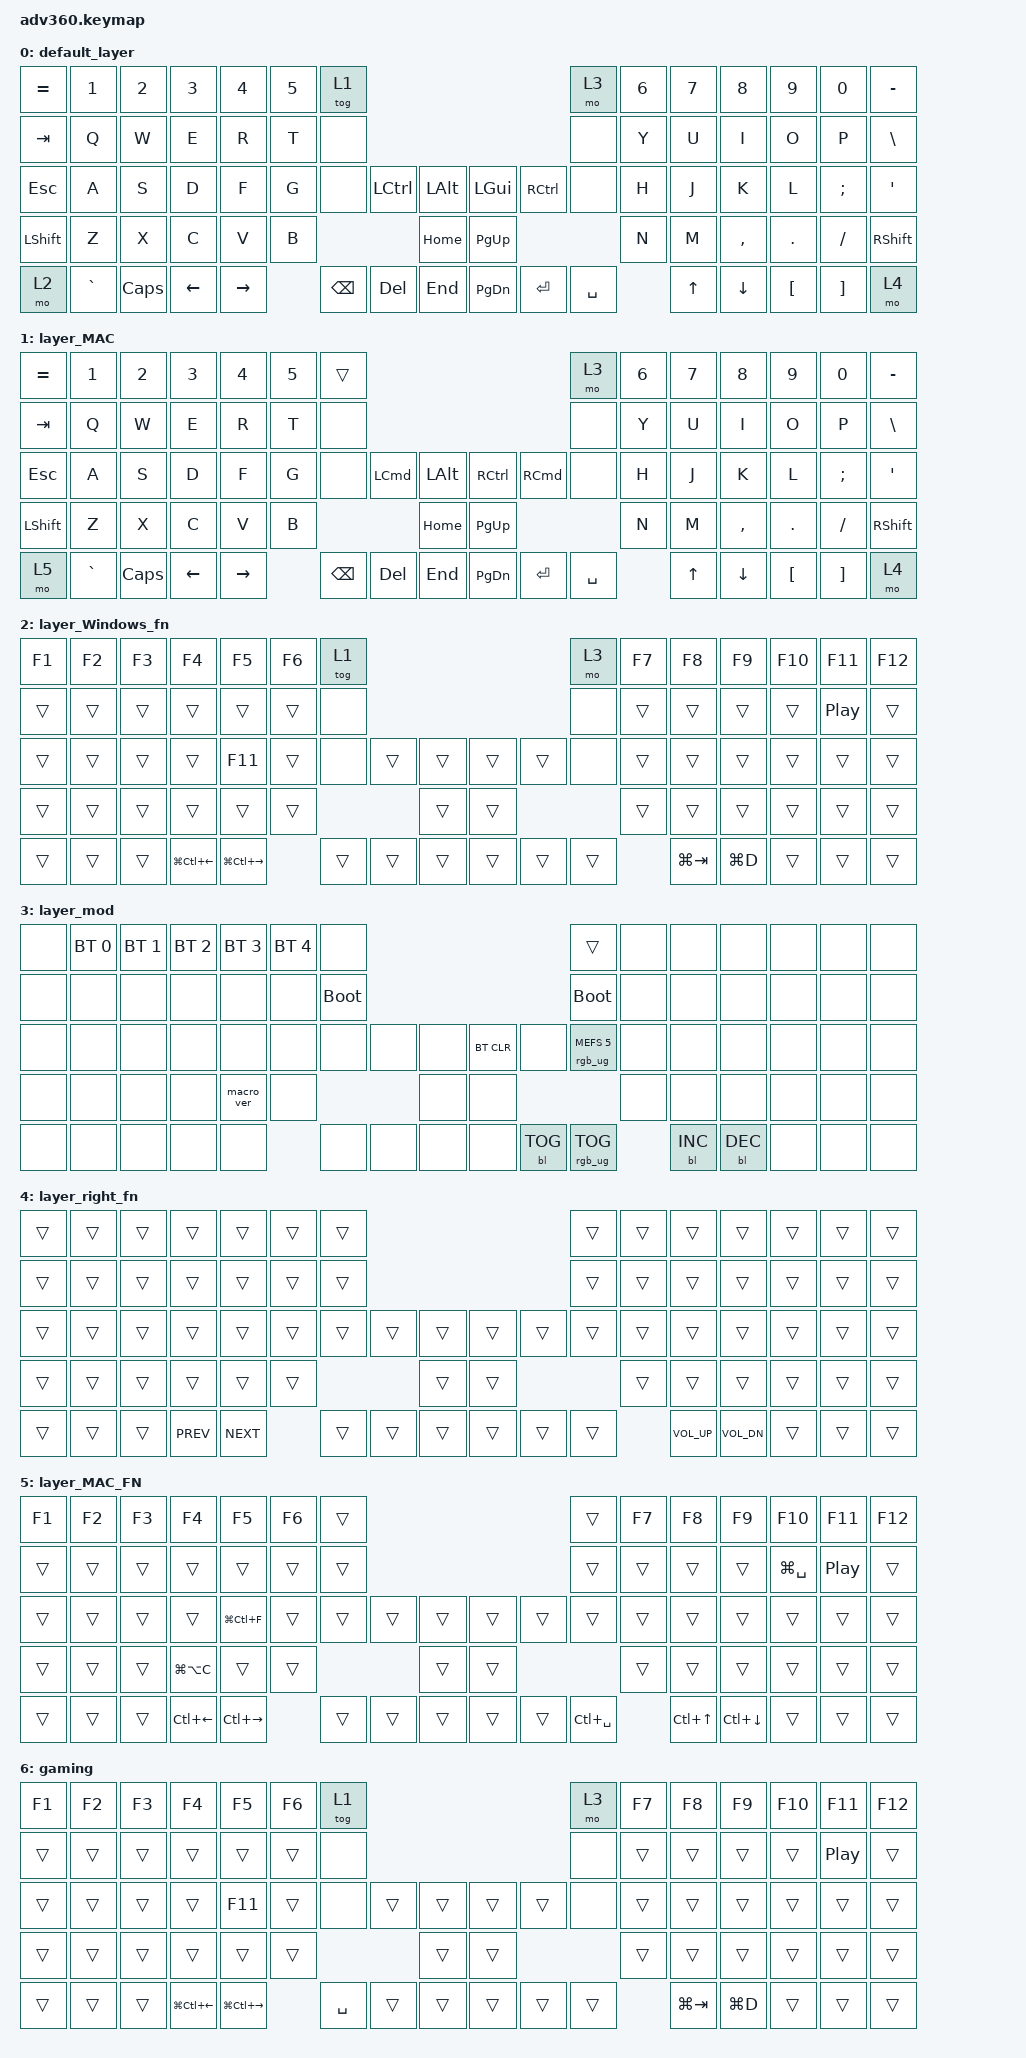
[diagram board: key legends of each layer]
/*
 * Copyright (c) 2020 The ZMK Contributors
 *
 * SPDX-License-Identifier: MIT
 */
/* THIS FILE WAS GENERATED!
 *
 * This file was generated automatically. You may or may not want to
 * edit it directly.
 */

#include <behaviors.dtsi>
#include <dt-bindings/zmk/backlight.h>
#include <dt-bindings/zmk/bt.h>
#include <dt-bindings/zmk/keys.h>
#include <dt-bindings/zmk/rgb.h>

/ {
    behaviors {
        #include "macros.dtsi"
    #include "version.dtsi"

        hm: homerow_mods {
            compatible = "zmk,behavior-hold-tap";
            label = "HOMEROW_MODS";
            #binding-cells = <2>;
            tapping-term-ms = <200>;
            quick_tap_ms = <175>;
            flavor = "tap-preferred";
            bindings = <&kp>, <&kp>;
        };
    };

    keymap {
        compatible = "zmk,keymap";

        default_layer {
            bindings = <
&kp EQUAL  &kp N1     &kp N2    &kp N3    &kp N4     &kp N5  &tog 1                                                   &mo 3      &kp N6  &kp N7  &kp N8     &kp N9    &kp N0    &kp MINUS
&kp TAB    &kp Q      &kp W     &kp E     &kp R      &kp T   &none                                                    &none      &kp Y   &kp U   &kp I      &kp O     &kp P     &kp BSLH
&kp ESC    &kp A      &kp S     &kp D     &kp F      &kp G   &none     &kp LCTRL  &kp LALT      &kp LGUI   &kp RCTRL  &none      &kp H   &kp J   &kp K      &kp L     &kp SEMI  &kp SQT
&kp LSHFT  &kp Z      &kp X     &kp C     &kp V      &kp B                        &kp HOME      &kp PG_UP                        &kp N   &kp M   &kp COMMA  &kp DOT   &kp FSLH  &kp RSHFT
&mo 2      &kp GRAVE  &kp CAPS  &kp LEFT  &kp RIGHT          &kp BSPC  &kp DEL    &kp END       &kp PG_DN  &kp ENTER  &kp SPACE          &kp UP  &kp DOWN   &kp LBKT  &kp RBKT  &mo 4
            >;
        };

        layer_MAC {
            bindings = <
&kp EQUAL  &kp N1     &kp N2    &kp N3    &kp N4     &kp N5  &trans                                                                  &mo 3      &kp N6  &kp N7  &kp N8     &kp N9            &kp N0         &kp MINUS
&kp TAB    &kp Q      &kp W     &kp E     &kp R      &kp T   &none                                                                   &none      &kp Y   &kp U   &kp I      &kp O             &kp P          &kp BSLH
&kp ESC    &kp A      &kp S     &kp D     &kp F      &kp G   &none     &kp LEFT_COMMAND  &kp LALT      &kp RCTRL  &kp RIGHT_COMMAND  &none      &kp H   &kp J   &kp K      &kp L             &kp SEMICOLON  &kp SQT
&kp LSHFT  &kp Z      &kp X     &kp C     &kp V      &kp B                               &kp HOME      &kp PG_UP                                &kp N   &kp M   &kp COMMA  &kp DOT           &kp SLASH      &kp RSHFT
&mo 5      &kp GRAVE  &kp CAPS  &kp LEFT  &kp RIGHT          &kp BSPC  &kp DEL           &kp END       &kp PG_DN  &kp ENTER          &kp SPACE          &kp UP  &kp DOWN   &kp LEFT_BRACKET  &kp RBKT       &mo 4
            >;
        };

        layer_Windows_fn {
            bindings = <
&kp F1  &kp F2  &kp F3  &kp F4            &kp F5             &kp F6  &tog 1                                      &mo 3   &kp F7  &kp F8       &kp F9     &kp F10  &kp F11   &kp F12
&trans  &trans  &trans  &trans            &trans             &trans  &none                                       &none   &trans  &trans       &trans     &trans   &kp C_PP  &trans
&trans  &trans  &trans  &trans            &kp F11            &trans  &none   &trans  &trans      &trans  &trans  &none   &trans  &trans       &trans     &trans   &trans    &trans
&trans  &trans  &trans  &trans            &trans             &trans                  &trans      &trans                  &trans  &trans       &trans     &trans   &trans    &trans
&trans  &trans  &trans  &kp LG(LC(LEFT))  &kp LG(LC(RIGHT))          &trans  &trans  &trans      &trans  &trans  &trans          &kp LG(TAB)  &kp LG(D)  &trans   &trans    &trans
            >;
        };

        layer_mod {
            bindings = <
&none  &bt BT_SEL 0  &bt BT_SEL 1  &bt BT_SEL 2  &bt BT_SEL 3  &bt BT_SEL 4  &none                                                  &trans                  &none  &none       &none       &none  &none  &none
&none  &none         &none         &none         &none         &none         &bootloader                                            &bootloader             &none  &none       &none       &none  &none  &none
&none  &none         &none         &none         &none         &none         &none        &none  &none      &bt BT_CLR  &none       &rgb_ug RGB_MEFS_CMD 5  &none  &none       &none       &none  &none  &none
&none  &none         &none         &none         &macro_ver    &none                             &none      &none                                           &none  &none       &none       &none  &none  &none
&none  &none         &none         &none         &none                       &none        &none  &none      &none       &bl BL_TOG  &rgb_ug RGB_TOG                &bl BL_INC  &bl BL_DEC  &none  &none  &none
            >;
        };

        layer_right_fn {
            bindings = <
&trans  &trans  &trans  &trans      &trans      &trans  &trans                                      &trans  &trans  &trans        &trans        &trans  &trans  &trans
&trans  &trans  &trans  &trans      &trans      &trans  &trans                                      &trans  &trans  &trans        &trans        &trans  &trans  &trans
&trans  &trans  &trans  &trans      &trans      &trans  &trans  &trans  &trans      &trans  &trans  &trans  &trans  &trans        &trans        &trans  &trans  &trans
&trans  &trans  &trans  &trans      &trans      &trans                  &trans      &trans                  &trans  &trans        &trans        &trans  &trans  &trans
&trans  &trans  &trans  &kp C_PREV  &kp C_NEXT          &trans  &trans  &trans      &trans  &trans  &trans          &kp C_VOL_UP  &kp C_VOL_DN  &trans  &trans  &trans
            >;
        };

        layer_MAC_FN {
            bindings = <
&kp F1  &kp F2  &kp F3  &kp F4         &kp F5         &kp F6  &trans                                      &trans         &kp F7  &kp F8      &kp F9        &kp F10        &kp F11   &kp F12
&trans  &trans  &trans  &trans         &trans         &trans  &trans                                      &trans         &trans  &trans      &trans        &kp LG(SPACE)  &kp C_PP  &trans
&trans  &trans  &trans  &trans         &kp LG(LC(F))  &trans  &trans  &trans  &trans      &trans  &trans  &trans         &trans  &trans      &trans        &trans         &trans    &trans
&trans  &trans  &trans  &kp LG(LA(C))  &trans         &trans                  &trans      &trans                         &trans  &trans      &trans        &trans         &trans    &trans
&trans  &trans  &trans  &kp LC(LEFT)   &kp LC(RIGHT)          &trans  &trans  &trans      &trans  &trans  &kp LC(SPACE)          &kp LC(UP)  &kp LC(DOWN)  &trans         &trans    &trans
            >;
        };

        gaming {
            bindings = <
&kp F1  &kp F2  &kp F3  &kp F4            &kp F5             &kp F6  &tog 1                                         &mo 3   &kp F7  &kp F8       &kp F9     &kp F10  &kp F11   &kp F12
&trans  &trans  &trans  &trans            &trans             &trans  &none                                          &none   &trans  &trans       &trans     &trans   &kp C_PP  &trans
&trans  &trans  &trans  &trans            &kp F11            &trans  &none      &trans  &trans      &trans  &trans  &none   &trans  &trans       &trans     &trans   &trans    &trans
&trans  &trans  &trans  &trans            &trans             &trans                     &trans      &trans                  &trans  &trans       &trans     &trans   &trans    &trans
&trans  &trans  &trans  &kp LG(LC(LEFT))  &kp LG(LC(RIGHT))          &kp SPACE  &trans  &trans      &trans  &trans  &trans          &kp LG(TAB)  &kp LG(D)  &trans   &trans    &trans
            >;
        };
    };
};
